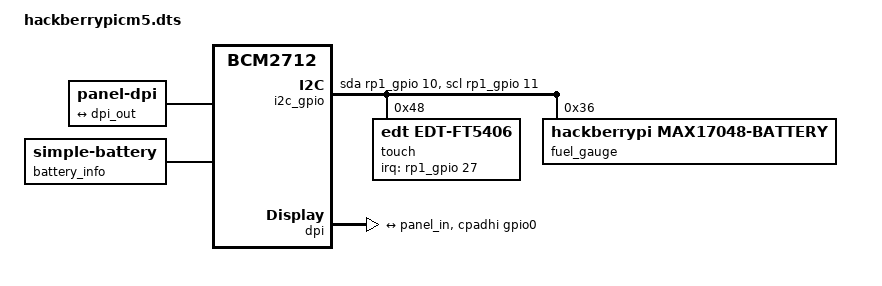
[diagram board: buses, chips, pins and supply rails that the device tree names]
/dts-v1/;
/plugin/;

/*
 * HackberryPi CM5 (Q20) overlay: DPI panel, FT5x06 touch, MAX17048 fuel gauge.
 *
 * Touch, fuel gauge and the Stemma-QT port share one I2C bus on GPIO10/11.
 * GPIO10/11 are not used by 18-bit DPI (GPIO0-9,12-17,20-25).
 *
 * Two bus modes, selected by one parameter. Exactly one of them is merged:
 *   default (hw_i2c absent or hw_i2c=off): bit-banged i2c-gpio at /i2c-gpio
 *       fragments 0 and 1 active, fragments 6 and 7 dormant
 *   hw_i2c (hw_i2c or hw_i2c=on): RP1 hardware i2c1 (i2c@74000) at 100 kHz,
 *       pin group hackberry_i2c1_10_11 (local, defined in fragment 4)
 *       fragments 6 and 7 active, fragments 0 and 1 dormant
 * hw_i2c uses the value-sensitive "=N" / "!N" fragment operators, so
 * hw_i2c=off is a no-op. Never use "+N" / "-N" here: dtmerge applies those
 * regardless of the value (tested), so hw_i2c=off would switch modes.
 *
 * In both modes the bus is i2c-11 (docs/decisions.md, Q1).
 *
 * Fragment numbers are referenced by the hw_i2c override: renumbering a
 * fragment means updating that string.
 *
 * Parameters (dtparam=...):
 *   hw_i2c                                    use RP1 hardware I2C (opt-in, Q3)
 *   touch_inv_x, touch_inv_y, touch_swap_xy   touch coordinate fixes
 *   no_touch, no_fuelgauge                    disable that device (any value disables)
 *   fuelgauge_mainline                        bind mainline maxim,max17048 instead of the DKMS driver
 *   charge_uah=<n>, energy_uwh=<n>            battery design capacity (default 5000 mAh / 18.5 Wh)
 *   pclk=<hz>                                 pixel clock (default 36832000)
 *   i2c_delay_us=<n>                          i2c-gpio half-bit delay (default 4, about 100 kHz);
 *                                             no effect with hw_i2c
 */
/ {
	compatible = "brcm,bcm2712", "raspberrypi,5-compute-module";

	/* --- default mode: i2c-gpio (disabled by hw_i2c) --- */

	fragment@0 {
		target-path = "/aliases";
		__overlay__ {
			i2c11 = "/i2c-gpio";
		};
	};

	fragment@1 {
		target-path = "/";
		__overlay__ {
			i2c_gpio: i2c-gpio {
				compatible = "i2c-gpio";
				sda-gpios = <&rp1_gpio 10 6>; /* GPIO_OPEN_DRAIN */
				scl-gpios = <&rp1_gpio 11 6>;
				i2c-gpio,delay-us = <4>;
				#address-cells = <1>;
				#size-cells = <0>;

				touch: touchscreen@48 {
					compatible = "edt,edt-ft5406";
					reg = <0x48>;
					pinctrl-names = "default";
					pinctrl-0 = <&touch_int_pin>;
					interrupt-parent = <&rp1_gpio>;
					interrupts = <27 0x02>;
					touchscreen-size-x = <720>;
					touchscreen-size-y = <720>;
				};

				fuel_gauge: battery@36 {
					compatible = "hackberrypi,max17048-battery";
					reg = <0x36>;
					monitored-battery = <&battery_info>;
					/* Legacy properties, kept for one release (the driver falls back to them) */
					charge-full-design-microamp-hours = <5000000>;
					energy-full-design-microwatt-hours = <18500000>;
					/* ALRT is not wired to a GPIO: no interrupts */
				};
			};
		};
	};

	/* --- always merged --- */

	fragment@2 {
		target = <&dpi>;
		__overlay__ {
			status = "okay";
			pinctrl-names = "default";
			pinctrl-0 = <&dpi_18bit_cpadhi_gpio0>;
			port {
				dpi_out: endpoint {
					remote-endpoint = <&panel_in>;
				};
			};
		};
	};

	fragment@3 {
		target-path = "/";
		__overlay__ {
			panel: panel {
				compatible = "panel-dpi";

				/*
				 * The active area is about 72x72 mm. 144 is used because the
				 * panel is high-DPI and many systems handle small screens badly.
				 */
				width-mm = <144>;
				height-mm = <144>;
				bus-format = <0x1024>;

				timing: panel-timing {
					clock-frequency = <36832000>;
					hactive = <720>;
					hfront-porch = <44>;
					hsync-len = <2>;
					hback-porch = <46>;
					hsync-active = <1>;
					vactive = <720>;
					vfront-porch = <16>;
					vsync-len = <2>;
					vback-porch = <18>;
					vsync-active = <1>;

					de-active = <1>;
					pixelclk-active = <1>;
				};

				port {
					panel_in: endpoint {
						remote-endpoint = <&dpi_out>;
					};
				};
			};
		};
	};

	fragment@4 {
		target = <&rp1_gpio>;
		__overlay__ {
			touch_int_pin: hackberry_tp_int {
				function = "gpio";
				pins = "gpio27";
				bias-pull-up;
			};

			/*
			 * Pin group for hw_i2c, defined here so that the dormant
			 * fragment needs no external symbol: an unresolved symbol in a
			 * dormant fragment fails the whole merge even in default mode.
			 */
			hackberry_i2c1_pins: hackberry_i2c1_10_11 {
				function = "i2c1";
				pins = "gpio10", "gpio11";
				bias-pull-up;
			};
		};
	};

	/* Moved out of fragment 1 so it exists in both modes. */
	fragment@5 {
		target-path = "/";
		__overlay__ {
			battery_info: hackberry-battery {
				compatible = "simple-battery";
				voltage-min-design-microvolt = <2750000>;
				voltage-max-design-microvolt = <4200000>;
				charge-full-design-microamp-hours = <5000000>;
				energy-full-design-microwatt-hours = <18500000>;
			};
		};
	};

	/* --- hw_i2c mode: RP1 i2c1 on GPIO10/11 (dormant by default) --- */

	fragment@6 {
		target-path = "/axi/pcie@1000120000/rp1/i2c@74000";
		__dormant__ {
			status = "okay";
			pinctrl-names = "default";
			pinctrl-0 = <&hackberry_i2c1_pins>;
			clock-frequency = <100000>;
			#address-cells = <1>;
			#size-cells = <0>;

			/* Same nodes as in fragment 1; only one copy is ever merged. */
			touch_hw: touchscreen@48 {
				compatible = "edt,edt-ft5406";
				reg = <0x48>;
				pinctrl-names = "default";
				pinctrl-0 = <&touch_int_pin>;
				interrupt-parent = <&rp1_gpio>;
				interrupts = <27 0x02>;
				touchscreen-size-x = <720>;
				touchscreen-size-y = <720>;
			};

			fuel_gauge_hw: battery@36 {
				compatible = "hackberrypi,max17048-battery";
				reg = <0x36>;
				monitored-battery = <&battery_info>;
				charge-full-design-microamp-hours = <5000000>;
				energy-full-design-microwatt-hours = <18500000>;
			};
		};
	};

	/*
	 * Keep the bus at i2c-11. The base i2c1 alias also points at i2c@74000
	 * and of_alias_get_id() returns the first match in /aliases (i2c1), so
	 * i2c1 is pointed at a path that does not exist; of_alias_scan() skips
	 * it. GPIO2/3 belong to DPI on this board, so i2c_arm (the only user of
	 * the i2c1 controller) is unusable here anyway.
	 */
	fragment@7 {
		target-path = "/aliases";
		__dormant__ {
			i2c1 = "/hackberry-i2c1-is-i2c11";
			i2c11 = "/axi/pcie@1000120000/rp1/i2c@74000";
		};
	};

	__overrides__ {
		hw_i2c = <0>,"!0!1=6=7";
		touch_inv_x = <&touch>,"touchscreen-inverted-x?",
			      <&touch_hw>,"touchscreen-inverted-x?";
		touch_inv_y = <&touch>,"touchscreen-inverted-y?",
			      <&touch_hw>,"touchscreen-inverted-y?";
		touch_swap_xy = <&touch>,"touchscreen-swapped-x-y?",
				<&touch_hw>,"touchscreen-swapped-x-y?";
		no_touch = <&touch>,"status=disabled",
			   <&touch_hw>,"status=disabled";
		no_fuelgauge = <&fuel_gauge>,"status=disabled",
			       <&fuel_gauge_hw>,"status=disabled";
		fuelgauge_mainline = <&fuel_gauge>,"compatible=maxim,max17048",
				     <&fuel_gauge_hw>,"compatible=maxim,max17048";
		charge_uah = <&battery_info>,"charge-full-design-microamp-hours:0",
			     <&fuel_gauge>,"charge-full-design-microamp-hours:0",
			     <&fuel_gauge_hw>,"charge-full-design-microamp-hours:0";
		energy_uwh = <&battery_info>,"energy-full-design-microwatt-hours:0",
			     <&fuel_gauge>,"energy-full-design-microwatt-hours:0",
			     <&fuel_gauge_hw>,"energy-full-design-microwatt-hours:0";
		pclk = <&timing>,"clock-frequency:0";
		i2c_delay_us = <&i2c_gpio>,"i2c-gpio,delay-us:0";
	};
};
